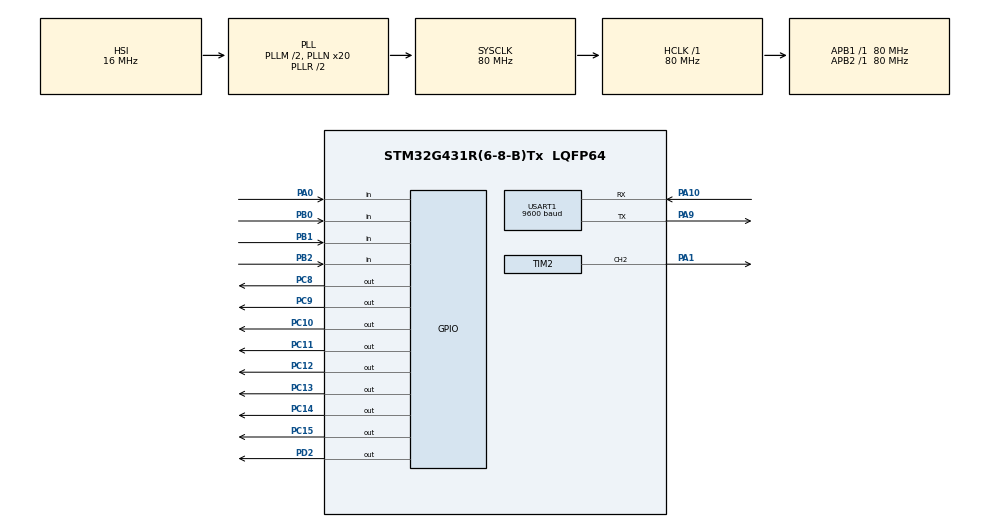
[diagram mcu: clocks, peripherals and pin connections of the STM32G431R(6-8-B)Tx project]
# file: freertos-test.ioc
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Dma.Request0=USART1_RX
Dma.USART1_RX.0.Direction=DMA_PERIPH_TO_MEMORY
Dma.USART1_RX.0.EventEnable=DISABLE
Dma.USART1_RX.0.Instance=DMA1_Channel1
Dma.USART1_RX.0.MemDataAlignment=DMA_MDATAALIGN_BYTE
Dma.USART1_RX.0.MemInc=DMA_MINC_ENABLE
Dma.USART1_RX.0.Mode=DMA_NORMAL
Dma.USART1_RX.0.PeriphDataAlignment=DMA_PDATAALIGN_BYTE
Dma.USART1_RX.0.PeriphInc=DMA_PINC_DISABLE
Dma.USART1_RX.0.Polarity=HAL_DMAMUX_REQ_GEN_RISING
Dma.USART1_RX.0.Priority=DMA_PRIORITY_LOW
Dma.USART1_RX.0.RequestNumber=1
Dma.USART1_RX.0.SignalID=NONE
Dma.USART1_RX.0.SyncEnable=DISABLE
Dma.USART1_RX.0.SyncPolarity=HAL_DMAMUX_SYNC_NO_EVENT
Dma.USART1_RX.0.SyncRequestNumber=1
Dma.USART1_RX.0.SyncSignalID=NONE
FREERTOS.Tasks01=defaultTask,24,128,StartDefaultTask,Default,NULL,Dynamic,NULL,NULL
FREERTOS.configLIBRARY_MAX_SYSCALL_INTERRUPT_PRIORITY=5
FREERTOS.configTOTAL_HEAP_SIZE=8192
Mcu.Family=STM32G4
Mcu.Name=STM32G431R(6-8-B)Tx
Mcu.Package=LQFP64
NVIC.DMA1_Channel1_IRQn=true\:5\:0\:true\:false\:true\:true\:false\:true\:true
NVIC.PVD_PVM_IRQn=true\:5\:0\:true\:false\:true\:true\:true\:true\:true
NVIC.PriorityGroup=NVIC_PRIORITYGROUP_4
NVIC.TIM2_IRQn=true\:5\:0\:true\:false\:true\:true\:true\:true\:true
NVIC.TIM6_DAC_IRQn=true\:5\:0\:true\:false\:true\:true\:true\:true\:true
NVIC.TIM7_IRQn=true\:5\:0\:false\:false\:true\:true\:true\:true\:true
NVIC.USART1_IRQn=true\:5\:0\:true\:false\:true\:true\:true\:true\:true
PA0.GPIO_PuPd=GPIO_PULLUP
PA0.Signal=GPIO_Input
PA1.Signal=S_TIM2_CH2
PA10.Mode=Asynchronous
PA10.Signal=USART1_RX
PA13.Mode=Serial_Wire
PA13.Signal=SYS_JTMS-SWDIO
PA14.Mode=Serial_Wire
PA14.Signal=SYS_JTCK-SWCLK
PA9.Mode=Asynchronous
PA9.Signal=USART1_TX
PB0.GPIO_PuPd=GPIO_PULLUP
PB0.Signal=GPIO_Input
PB1.GPIO_PuPd=GPIO_PULLUP
PB1.Signal=GPIO_Input
PB2.GPIO_PuPd=GPIO_PULLUP
PB2.Signal=GPIO_Input
PC10.PinState=GPIO_PIN_SET
PC10.Signal=GPIO_Output
PC11.PinState=GPIO_PIN_SET
PC11.Signal=GPIO_Output
PC12.PinState=GPIO_PIN_SET
PC12.Signal=GPIO_Output
PC13.PinState=GPIO_PIN_SET
PC13.Signal=GPIO_Output
PC14-OSC32_IN.PinState=GPIO_PIN_SET
PC14-OSC32_IN.Signal=GPIO_Output
PC15-OSC32_OUT.PinState=GPIO_PIN_SET
PC15-OSC32_OUT.Signal=GPIO_Output
PC8.PinState=GPIO_PIN_SET
PC8.Signal=GPIO_Output
PC9.PinState=GPIO_PIN_SET
PC9.Signal=GPIO_Output
PD2.Signal=GPIO_Output
PF0-OSC_IN.Mode=HSE-External-Oscillator
PF0-OSC_IN.Signal=RCC_OSC_IN
PF1-OSC_OUT.Mode=HSE-External-Oscillator
PF1-OSC_OUT.Signal=RCC_OSC_OUT
ProjectManager.HeapSize=0x200
ProjectManager.StackSize=0x400
ProjectManager.TargetToolchain=MDK-ARM V5.32
RCC.ADC12Freq_Value=80000000
RCC.AHBFreq_Value=80000000
RCC.APB1Freq_Value=80000000
RCC.APB1TimFreq_Value=80000000
RCC.APB2Freq_Value=80000000
RCC.APB2TimFreq_Value=80000000
RCC.CortexFreq_Value=80000000
RCC.EXTERNAL_CLOCK_VALUE=12288000
RCC.HCLKFreq_Value=80000000
RCC.HSE_VALUE=8000000
RCC.HSI48_VALUE=48000000
RCC.HSI_VALUE=16000000
RCC.LSE_VALUE=32768
RCC.PLLM=RCC_PLLM_DIV2
RCC.PLLN=20
RCC.SYSCLKFreq_VALUE=80000000
RCC.SYSCLKSource=RCC_SYSCLKSOURCE_PLLCLK
RCC.USBFreq_Value=80000000
RCC.VCOOutputFreq_Value=160000000
SH.S_TIM2_CH2.0=TIM2_CH2,PWM Generation2 CH2
TIM2.Channel-PWM\ Generation2\ CH2=TIM_CHANNEL_2
TIM2.PeriodNoDither=1000
TIM2.Prescaler=80-1
TIM6.PeriodNoDither=10000
TIM6.Prescaler=80
TIM7.PeriodNoDither=10000
TIM7.Prescaler=80
USART1.BaudRate=9600
USART1.VirtualMode-Asynchronous=VM_ASYNC
VP_FREERTOS_VS_CMSIS_V2.Mode=CMSIS_V2
VP_SYS_VS_DBSignals.Mode=DisableDeadBatterySignals
VP_TIM2_VS_ClockSourceINT.Mode=Internal
VP_TIM6_VS_ClockSourceINT.Mode=Enable_Timer
VP_TIM7_VS_ClockSourceINT.Mode=Enable_Timer
board=custom

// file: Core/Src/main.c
/* USER CODE BEGIN Header */
/**
  ******************************************************************************
  * @file           : main.c
  * @brief          : Main program body
  ******************************************************************************
  * @attention
  *
  * Copyright (c) 2026 STMicroelectronics.
  * All rights reserved.
  *
  * This software is licensed under terms that can be found in the LICENSE file
  * in the root directory of this software component.
  * If no LICENSE file comes with this software, it is provided AS-IS.
  *
  ******************************************************************************
  */
/* USER CODE END Header */
#include "main.h"
#include "cmsis_os.h"
#include "dma.h"
#include "tim.h"
#include "usart.h"
#include "gpio.h"

void SystemClock_Config(void);
void MX_FREERTOS_Init(void);

int main(void)
{

  /* MCU Configuration--------------------------------------------------------*/

  /* Reset of all peripherals, Initializes the Flash interface and the Systick. */
  HAL_Init();

  /* Configure the system clock */
  SystemClock_Config();

  /* Initialize all configured peripherals */
  MX_GPIO_Init();
  MX_DMA_Init();
  MX_USART1_UART_Init();
  MX_TIM2_Init();
  MX_TIM6_Init();
  MX_TIM7_Init();
  /* USER CODE BEGIN 2 */
	elog_init();

	elog_set_fmt(ELOG_LVL_ASSERT, ELOG_FMT_LVL | ELOG_FMT_TAG | ELOG_FMT_TIME);
  elog_set_fmt(ELOG_LVL_ERROR, ELOG_FMT_LVL | ELOG_FMT_TAG | ELOG_FMT_TIME);
  elog_set_fmt(ELOG_LVL_WARN, ELOG_FMT_LVL | ELOG_FMT_TAG | ELOG_FMT_TIME);
  elog_set_fmt(ELOG_LVL_INFO, ELOG_FMT_LVL | ELOG_FMT_TAG | ELOG_FMT_TIME);
  elog_set_fmt(ELOG_LVL_DEBUG, ELOG_FMT_ALL & ~ELOG_FMT_FUNC);

	elog_start();

  Led_Init(my_led);
  HAL_GPIO_WritePin(GPIOD, GPIO_PIN_2, GPIO_PIN_SET);
  HAL_GPIO_WritePin(GPIOD, GPIO_PIN_2, GPIO_PIN_RESET);
  #if (DEBUG_MODE == 1)
  elog_i("Hardware", "key_init_successful");
  #endif
  /* USER CODE END 2 */

  /* Init scheduler */
  osKernelInitialize();  /* Call init function for freertos objects (in cmsis_os2.c) */
  MX_FREERTOS_Init();

  /* Start scheduler */
  osKernelStart();

  /* We should never get here as control is now taken by the scheduler */

  /* Infinite loop */
  while (1)
  {

  }
}

void SystemClock_Config(void)
{
  RCC_OscInitTypeDef RCC_OscInitStruct = {0};
  RCC_ClkInitTypeDef RCC_ClkInitStruct = {0};

  /** Configure the main internal regulator output voltage
  */
  HAL_PWREx_ControlVoltageScaling(PWR_REGULATOR_VOLTAGE_SCALE1);

  /** Initializes the RCC Oscillators according to the specified parameters
  * in the RCC_OscInitTypeDef structure.
  */
  RCC_OscInitStruct.OscillatorType = RCC_OSCILLATORTYPE_HSI;
  RCC_OscInitStruct.HSIState = RCC_HSI_ON;
  RCC_OscInitStruct.HSICalibrationValue = RCC_HSICALIBRATION_DEFAULT;
  RCC_OscInitStruct.PLL.PLLState = RCC_PLL_ON;
  RCC_OscInitStruct.PLL.PLLSource = RCC_PLLSOURCE_HSI;
  RCC_OscInitStruct.PLL.PLLM = RCC_PLLM_DIV2;
  RCC_OscInitStruct.PLL.PLLN = 20;
  RCC_OscInitStruct.PLL.PLLP = RCC_PLLP_DIV2;
  RCC_OscInitStruct.PLL.PLLQ = RCC_PLLQ_DIV2;
  RCC_OscInitStruct.PLL.PLLR = RCC_PLLR_DIV2;
  if (HAL_RCC_OscConfig(&RCC_OscInitStruct) != HAL_OK)
  {
    Error_Handler();
  }

  /** Initializes the CPU, AHB and APB buses clocks
  */
  RCC_ClkInitStruct.ClockType = RCC_CLOCKTYPE_HCLK|RCC_CLOCKTYPE_SYSCLK
                              |RCC_CLOCKTYPE_PCLK1|RCC_CLOCKTYPE_PCLK2;
  RCC_ClkInitStruct.SYSCLKSource = RCC_SYSCLKSOURCE_PLLCLK;
  RCC_ClkInitStruct.AHBCLKDivider = RCC_SYSCLK_DIV1;
  RCC_ClkInitStruct.APB1CLKDivider = RCC_HCLK_DIV1;
  RCC_ClkInitStruct.APB2CLKDivider = RCC_HCLK_DIV1;

  if (HAL_RCC_ClockConfig(&RCC_ClkInitStruct, FLASH_LATENCY_2) != HAL_OK)
  {
    Error_Handler();
  }
}

void Error_Handler(void)
{
  __disable_irq();
  while (1)
  {
  }
}

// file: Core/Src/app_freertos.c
/* USER CODE BEGIN Header */
/**
  ******************************************************************************
  * File Name          : app_freertos.c
  * Description        : Code for freertos applications
  ******************************************************************************
  * @attention
  *
  * Copyright (c) 2026 STMicroelectronics.
  * All rights reserved.
  *
  * This software is licensed under terms that can be found in the LICENSE file
  * in the root directory of this software component.
  * If no LICENSE file comes with this software, it is provided AS-IS.
  *
  ******************************************************************************
  */
/* USER CODE END Header */

#include "FreeRTOS.h"
#include "task.h"
#include "main.h"
#include "cmsis_os.h"

/* USER CODE BEGIN Includes */
#include "screen_task.h"
#include "key_task.h"
#include "pwm_task.h"
/* USER CODE END Includes */

/* Definitions for defaultTask */
osThreadId_t defaultTaskHandle;
const osThreadAttr_t defaultTask_attributes = {
  .name = "defaultTask",
  .priority = (osPriority_t) osPriorityNormal,
  .stack_size = 128 * 4
};

void StartDefaultTask(void *argument);

void MX_FREERTOS_Init(void); /* (MISRA C 2004 rule 8.1) */

void MX_FREERTOS_Init(void) {
  /* USER CODE BEGIN Init */
  Screen_Task_Init();
  Pwm_Task_Init();
  Key_Task_Init();
	Serial_Task_Init();

  /* USER CODE END Init */

  /* Create the thread(s) */
  /* creation of defaultTask */
  defaultTaskHandle = osThreadNew(StartDefaultTask, NULL, &defaultTask_attributes);

}

void StartDefaultTask(void *argument)
{
  for(;;)
  {
    osDelay(1);
  }
}
